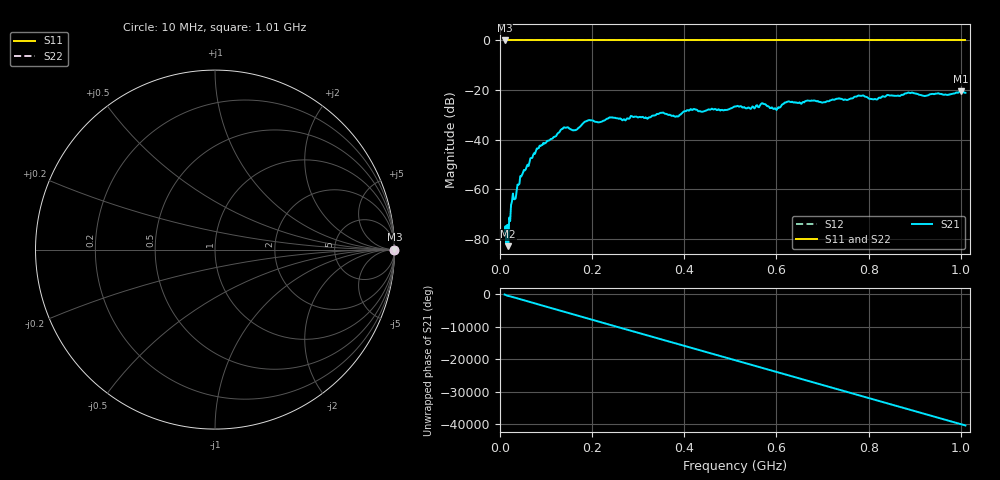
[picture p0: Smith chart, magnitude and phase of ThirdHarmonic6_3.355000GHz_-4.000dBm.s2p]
! 8/17/2025 10:35:57 AM
! C:\ANRITSUVNA\TEMP\TEMP.S2P
! CHANNEL.1
! TR.MEASUREMENT
! RAW.DATA
! RF.CORRECTION.OFF
! AVERAGING.OFF
! IF.BANDWIDTH: 5KHZ
! SWEEPTYPE:  FREQ.SWEEP(Linear)
! Reference Plane Port Info
! PORT:  PORT1  PORT2
! DISTANCE:  0  m  0  m
! TIME:  0  s  0  s
! PHASE.OFFSET:  0  deg.  0  deg.
! LOSS:  0  dB  0  dB
! REF.LOSS:  0  dB  0  dB
! REF.FREQ:  0  Hz  0  Hz
! Power Info
! POWER:  -20  dBm  -20  dBm
! EFF.POWER:  -20  dBm  -20  dBm
! SOURCE.ATTEN:  0  dB  0  dB
! TEST.ATTEN:  0  dB  0  dB
# GHZ S RI R 50.0
! FREQ.GHZ  S11RE  S11IM  S21RE  S21IM  S12RE  S12IM  S22RE  S22IM
!; PortSelection: Port_12
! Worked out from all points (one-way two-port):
!   501 points, 10 MHz to 1.01 GHz, reference 50 ohm
!   highest |S21| = -20.46 dB at 1 GHz (marker M1); lowest = -83.0 dB at 18 MHz (marker M2)
!   lowest |S11| = 0.0 dB at 10 MHz (marker M3)
!   |S11| at or under -10 dB: nowhere
!   |S22| runs from 0.0 to 0.0 dB; largest |S21 - S12| = 1.1
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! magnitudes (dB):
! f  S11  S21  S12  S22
! 10 MHz  0.0  -77.6  0.0  0.0
! 18 MHz  0.0  -83.0  0.0  0.0
! 24 MHz  0.0  -66.3  0.0  0.0
! 28 MHz  0.0  -61.8  0.0  0.0
! 42 MHz  0.0  -58.0  0.0  0.0
! 82 MHz  0.0  -43.6  0.0  0.0
! 136 MHz  0.0  -35.6  0.0  0.0
! 162 MHz  0.0  -36.2  0.0  0.0
! 178 MHz  0.0  -33.9  0.0  0.0
! 194 MHz  0.0  -32.1  0.0  0.0
! 322 MHz  0.0  -31.3  0.0  0.0
! 344 MHz  0.0  -29.7  0.0  0.0
! 384 MHz  0.0  -30.6  0.0  0.0
! 410 MHz  0.0  -28.3  0.0  0.0
! 510 MHz  0.0  -26.6  0.0  0.0
! 572 MHz  0.0  -25.6  0.0  0.0
! 598 MHz  0.0  -27.5  0.0  0.0
! 622 MHz  0.0  -24.8  0.0  0.0
! 678 MHz  0.0  -24.3  0.0  0.0
! 844 MHz  0.0  -22.1  0.0  0.0
! 1 GHz  0.0  -20.5  0.0  0.0
! 1.01 GHz  0.0  -21.1  0.0  0.0
